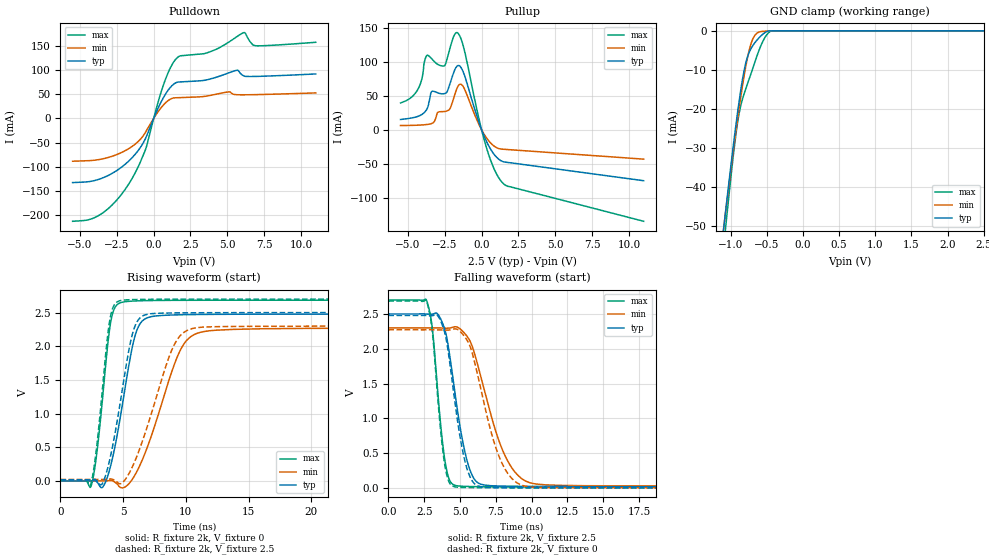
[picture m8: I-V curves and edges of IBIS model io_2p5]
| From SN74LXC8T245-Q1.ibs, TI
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[Model]   io_2p5
Model_type  I/O
Vinl=0.7
Vinh=1.7
Enable   Active-Low
Vref =   0
Rref =   2000
Cref =   15p
Vmeas =   1.25
| variable   typ   min   max
C_comp   6.20pF   5.38pF   7.19pF
| C_pullup   12.65pF   6.38pF   21.50pF
| C_pulldown   9.65pF   6.74pF   15.56pF
| C_tri-state   6.20pF   5.38pF   7.19pF
[Temperature Range]   40   100   -40
| Ambient temperature   25   85   -40
[Voltage range]   2.5   2.3   2.7
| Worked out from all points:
|   slope of the pulldown table from 0 to 0.375 V, typ, clamps not added: 14.3 ohm
|   slope of the pullup table from 0 to 0.375 V, typ, clamps not added: 19.7 ohm
|   GND clamp passes 1 mA (typ) near -0.56 V on its own axis
|   rising waveform, R_fixture 2k, V_fixture 0: 20-80 % time 1.39ns typ, 2.43ns min, 868ps max; typ from 0 V to 2.48 V
|   falling waveform, R_fixture 2k, V_fixture 2.5: 20-80 % time 1.14ns typ, 1.98ns min, 709ps max; typ from 2.5 V to 0.017 V
|   rising waveform, R_fixture 2k, V_fixture 2.5: 20-80 % time 1.37ns typ, 2.35ns min, 853ps max; typ from 0.017 V to 2.5 V
|   falling waveform, R_fixture 2k, V_fixture 0: 20-80 % time 1.06ns typ, 1.72ns min, 683ps max; typ from 2.48 V to 0 V
[GND Clamp]
| LXC8T245_IO_25
|   Voltage   I(typ)   I(min)   I(max)
-5.5V     -897.1mA   -831.9mA   -1.015A
-1.11V    -52.66mA   -52.33mA   -57.72mA
-1.08V    -47.7mA    -47.75mA   -52.14mA
-1.05V    -42.82mA   -43.24mA   -46.67mA
-970mV    -30.27mA   -31.55mA   -32.88mA
-910mV    -21.53mA   -23.26mA   -24.11mA
-825mV    -11.15mA   -12.66mA   -16.7mA
-725mV    -4.734mA   -3.633mA   -11.25mA
-630mV    -2.234mA   -514.4uA   -6.052mA
-515mV    -326.1uA   -90.88uA   -1.362mA
-425mV    -4.501uA   -33.03uA   -11.43uA
2.5V      27.51pA    91.09nA    545.1pA
[Pulldown]
| LXC8T245_IO_25
|   Voltage   I(typ)   I(min)   I(max)
-5.5V     -133.3mA   -88.88mA   -213.8mA
-3.55V    -124.7mA   -84.51mA   -198.3mA
-1.715V   -89.25mA   -63.13mA   -137.4mA
-555mV    -41.71mA   -28.61mA   -64.74mA
300mV     21.24mA    14.01mA    33.98mA
855mV     53.14mA    33.96mA    85.74mA
1.655V    75.71mA    43.25mA    127.8mA
3.765V    81.48mA    47.49mA    138mA
5.655V    100.3mA    49.41mA    170.3mA
6.145V    88.26mA    49.23mA    178.7mA
6.91V     87.46mA    49.58mA    151.3mA
11V       92.57mA    53.16mA    158.4mA
[Pullup]
| LXC8T245_IO_25
|   Voltage   I(typ)   I(min)   I(max)
-5.5V     15.18mA    6.286mA    39.52mA
-4.375V   19.38mA    6.776mA    57.63mA
-3.925V   24.63mA    7.34mA     94.35mA
-3.695V   31.09mA    7.844mA    109.8mA
-3.295V   56.83mA    10.28mA    102.6mA
-2.495V   53.5mA     27.01mA    94.85mA
-2.135V   68.6mA     31.44mA    120.9mA
-1.645V   94.12mA    62.3mA     143.1mA
-1.23V    84.36mA    63.07mA    122.5mA
335mV     -17.24mA   -11.96mA   -26.61mA
1.44V     -46.81mA   -28.58mA   -78.45mA
11V       -75.01mA   -43.22mA   -134.8mA
[Ramp]
| LXC8T245_IO_25
| variable   typ   min   max
dV/dt_r   1.50/0.8E-09   1.35/1.24E-09   1.65/0.63E-10
dV/dt_f   1.50/0.8E-09   1.35/1.7E-09   1.65/0.63E-10
R_load = 2k
[Rising Waveform]
| LXC8T245_IO_25
R_fixture =   2k
C_fixture =   0
L_fixture =   0
V_fixture =   0
V_fixture_min = 0
V_fixture_max = 0
|   Time   V(typ)   V(min)   V(max)
0s        299.6pV    7.204nV    2.034nV
2.46ns    17.85uV    -5.835uV   -65.72mV
2.95ns    -24.7mV    -35.8uV    493mV
3.97ns    202.6mV    6.715mV    2.316V
4.77ns    945.4mV    -96.58mV   2.645V
5.745ns   2.004V     29.08mV    2.671V
6.4ns     2.349V     259.5mV    2.676V
9.37ns    2.467V     1.869V     2.682V
10.9ns    2.472V     2.193V     2.683V
40ns      2.477V     2.27V      2.684V
[Falling Waveform]
| LXC8T245_IO_25
R_fixture =   2k
C_fixture =   0
L_fixture =   0
V_fixture =   2.5
V_fixture_min = 2.3
V_fixture_max = 2.7
|   Time   V(typ)   V(min)   V(max)
0s        2.5V       2.3V       2.7V
2.7ns     2.499V     2.3V       2.677V
3.08ns    2.497V     2.3V       2.27V
3.94ns    2.276V     2.296V     403.2mV
4.64ns    1.38V      2.316V     36.72mV
5.355ns   505.6mV    2.213V     21mV
6.04ns    114.4mV    1.912V     17.82mV
7.985ns   25.21mV    535.9mV    14.24mV
9.845ns   21.9mV     75.58mV    12.99mV
40ns      16.67mV    23.22mV    11.27mV
[Rising Waveform]
| LXC8T245_IO_25
R_fixture =   2k
C_fixture =   0
L_fixture =   0
V_fixture =   2.5
V_fixture_min = 2.3
V_fixture_max = 2.7
|   Time   V(typ)   V(min)   V(max)
0s        16.61mV    22.91mV    11.26mV
2.415ns   16.45mV    22.9mV     -49.97mV
3.285ns   -53.08mV   22.78mV    1.239V
3.89ns    286.3mV    28.18mV    2.337V
4.655ns   1.037V     -38.27mV   2.671V
5.565ns   2.046V     145.5mV    2.692V
6.2ns     2.391V     419.5mV    2.695V
8.85ns    2.494V     1.934V     2.699V
10.31ns   2.497V     2.252V     2.7V
40ns      2.5V       2.3V       2.7V
[Falling Waveform]
| LXC8T245_IO_25
R_fixture =   2k
C_fixture =   0
L_fixture =   0
V_fixture =   0
V_fixture_min = 0
V_fixture_max = 0
|   Time   V(typ)   V(min)   V(max)
0s        2.478V     2.272V     2.685V
2.695ns   2.477V     2.272V     2.662V
3.065ns   2.475V     2.272V     2.253V
3.89ns    2.263V     2.268V     393.9mV
4.545ns   1.392V     2.283V     20.12mV
5.22ns    498.1mV    2.201V     5.542mV
5.885ns   89.91mV    1.915V     3.857mV
7.66ns    3.274mV    487mV      1.965mV
9.385ns   2.437mV    33.38mV    1.267mV
40ns      55.14uV    200uV      6.623uV
